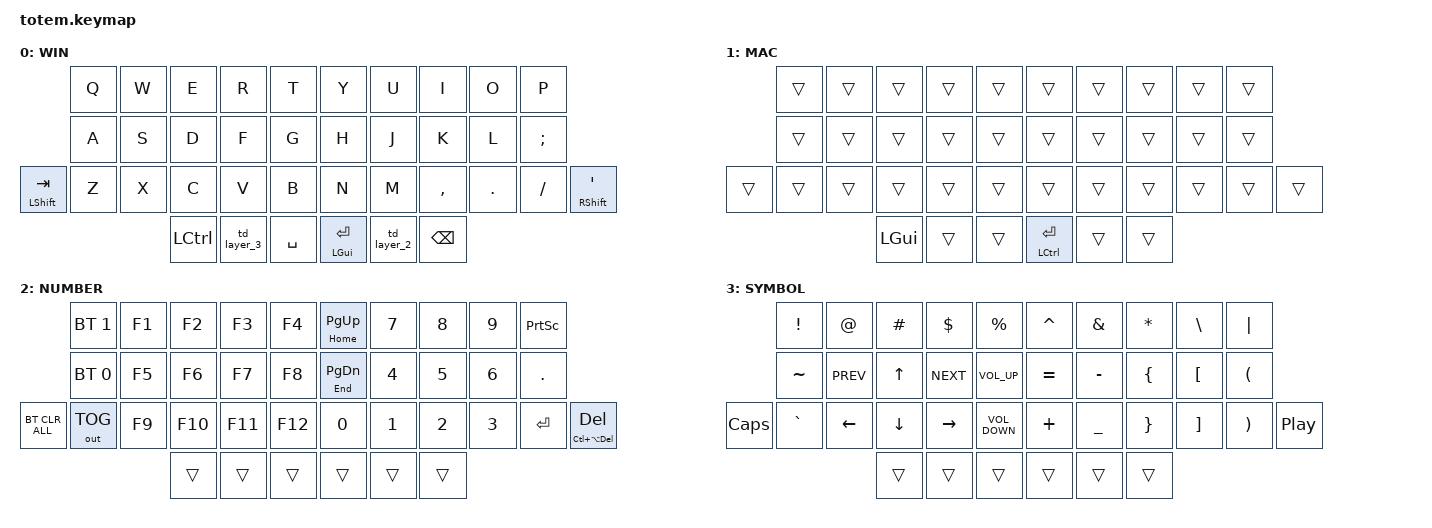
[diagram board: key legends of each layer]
//
//                                                        ▀▀▀▀▀     ▀▀▀▀▀          ▀▀█▀▀
//                                                        ▄▀▀▀▄  ▄  ▄▀▀▀▄  ▄  ▄▀▀▀▄  █  ▄▀▀▀▄
//                                                        █   █  █  █   █  █  █   █  █  █   █
//                                                         ▀▀▀   █   ▀▀▀   █   ▀▀▀   ▀   ▀▀▀
//                                                               █      ▄▄▄█▄▄▄    █   █  
//                                                               ▀      █  █  █     █▄█
//                                                             ▀▀▀▀▀    █  █  █      ▀
//                                                                      ▀  ▀  ▀
//
// ▄▄▄▄▄▄▄▄▄▄▄▄▄▄▄▄▄▄▄▄▄▄▄▄▄▄▄▄▄▄▄▄▄▄▄▄▄▄▄▄▄▄▄▄▄▄▄▄▄▄▄▄▄▄▄▄▄▄▄▄▄▄▄▄▄▄▄▄▄▄▄▄▄▄▄▄▄▄▄▄▄▄▄▄▄▄▄▄▄▄▄▄▄▄▄▄▄▄▄▄▄▄▄▄▄▄▄▄▄▄▄▄▄▄▄▄▄▄▄▄▄▄▄▄▄▄▄▄▄▄▄▄▄▄▄▄▄▄▄▄▄▄▄▄▄▄▄▄▄

#include <behaviors.dtsi>
#include <dt-bindings/zmk/bt.h>
#include <dt-bindings/zmk/keys.h>
#include <dt-bindings/zmk/outputs.h>

#define BASE 0
#define NAV  1
#define SYM  2
#define ADJ  3
#define TVP1 4
#define TVP2 5

&mt {
    quick-tap-ms = <100>;
    global-quick-tap;
    flavor = "hold-preferred";
    tapping-term-ms = <190>;
};

/ {
    combos {
        compatible = "zmk,combos";

        combo_esc {
            timeout-ms = <50>;
            key-positions = <0 1>;
            bindings = <&kp ESC>;
        };

        combo_toggle_mac {
            bindings = <&tog 1>;
            key-positions = <33 36>;
        };
    };

    behaviors {
        td_layer_2: td_layer_2 {
            compatible = "zmk,behavior-tap-dance";
            label = "TD_LAYER_2";
            #binding-cells = <0>;
            bindings = <&mo 2>, <&tog 2>;

            tapping-term-ms = <250>;
        };

        td_layer_3: td_layer_3 {
            compatible = "zmk,behavior-tap-dance";
            label = "TD_LAYER_3";
            #binding-cells = <0>;
            bindings = <&mo 3>, <&tog 3>;

            tapping-term-ms = <250>;
        };
    };

    keymap {
        compatible = "zmk,keymap";

        // ▄▄▄▄▄▄▄▄▄▄▄▄▄▄▄▄▄▄▄▄▄▄▄▄▄▄▄▄▄▄▄▄▄▄▄▄▄▄▄▄▄▄▄▄▄▄▄▄▄▄▄▄▄▄▄▄▄▄▄▄▄▄▄▄▄▄▄▄▄▄▄▄▄▄▄▄▄▄▄▄▄▄▄▄▄▄▄▄▄▄▄▄▄▄▄▄▄▄▄▄▄▄▄▄▄▄▄▄▄▄▄▄▄▄▄▄▄▄▄▄▄▄▄▄▄▄▄▄▄▄▄▄▄▄▄▄▄▄▄▄▄▄▄▄▄▄▄▄▄

        base_layer {
            // ┏━━━━━━━━━━━━━━━━━━━━━━━━━━━━━━━━━━━━━━━┓

            label = "WIN";

            // ┗━━━━━━━━━━━━━━━━━━━━━━━━━━━━━━━━━━━━━━━┛
            //             ┏━━━━━━━━━━━┳━━━━━━━━━━━┳━━━━━━━━━━━┳━━━━━━━━━━━┳━━━━━━━━━━━┓   ┏━━━━━━━━━━━┳━━━━━━━━━━━┳━━━━━━━━━━━┳━━━━━━━━━━━┳━━━━━━━━━━━┓
            //             ┃     Q     ┃     W     ┃     F     ┃     P     ┃     G     ┃   ┃     J     ┃     L     ┃     U     ┃     Y     ┃     ;     ┃
            //             ┣━━━━━━━━━━━╋━━━━━━━━━━━╋━━━━━━━━━━━╋━━━━━━━━━━━╋━━━━━━━━━━━┫   ┣━━━━━━━━━━━╋━━━━━━━━━━━╋━━━━━━━━━━━╋━━━━━━━━━━━╋━━━━━━━━━━━┫
            //             ┃     A     ┃     R     ┃     S     ┃     T     ┃     D     ┃   ┃     H     ┃     N     ┃     E     ┃     I     ┃     O     ┃
            // ┏━━━━━━━━━━━╋━━━━━━━━━━━╋━━━━━━━━━━━╋━━━━━━━━━━━╋━━━━━━━━━━━╋━━━━━━━━━━━┫   ┣━━━━━━━━━━━╋━━━━━━━━━━━╋━━━━━━━━━━━╋━━━━━━━━━━━╋━━━━━━━━━━━╋━━━━━━━━━━━┓
            // ┃     Q     ┃     Z     ┃     X     ┃     C     ┃     V     ┃     B     ┃   ┃     K     ┃     M     ┃     ,     ┃     .     ┃     /     ┃     \     ┃
            // ┗━━━━━━━━━━━┻━━━━━━━━━━━┻━━━━━━━━━━━╋━━━━━━━━━━━╋━━━━━━━━━━━╋━━━━━━━━━━━┫   ┣━━━━━━━━━━━╋━━━━━━━━━━━╋━━━━━━━━━━━╋━━━━━━━━━━━┻━━━━━━━━━━━┻━━━━━━━━━━━┛
            //                                     ┃    DEL    ┃    TAB    ┃    SPC    ┃   ┃   ENTER   ┃           ┃   BSPC    ┃
            //                                     ┗━━━━━━━━━━━┻━━━━━━━━━━━┻━━━━━━━━━━━┛   ┗━━━━━━━━━━━┻━━━━━━━━━━━┻━━━━━━━━━━━┛

            bindings = <
                    &kp Q  &kp W  &kp E      &kp R        &kp T        &kp Y           &kp U        &kp I          &kp O    &kp P
                    &kp A  &kp S  &kp D      &kp F        &kp G        &kp H           &kp J        &kp K          &kp L    &kp SEMICOLON
&mt LEFT_SHIFT TAB  &kp Z  &kp X  &kp C      &kp V        &kp B        &kp N           &kp M        &kp COMMA      &kp DOT  &kp FSLH       &mt RIGHT_SHIFT SQT
                                  &kp LCTRL  &td_layer_3  &kp SPACE    &mt LGUI ENTER  &td_layer_2  &kp BACKSPACE
            >;
        };

        mac_layer {
            bindings = <
        &trans  &trans  &trans    &trans  &trans    &trans           &trans  &trans  &trans  &trans
        &trans  &trans  &trans    &trans  &trans    &trans           &trans  &trans  &trans  &trans
&trans  &trans  &trans  &trans    &trans  &trans    &trans           &trans  &trans  &trans  &trans  &trans
                        &kp LGUI  &trans  &trans    &mt LCTRL ENTER  &trans  &trans
            >;

            label = "MAC";
        };

        lower_layer {
            bindings = <
                &bt BT_SEL 1  &kp F1  &kp F2   &kp F3   &kp F4     &mt HOME PG_UP  &kp N7  &kp N8  &kp N9  &kp PRINTSCREEN
                &bt BT_SEL 0  &kp F5  &kp F6   &kp F7   &kp F8     &mt END PG_DN   &kp N4  &kp N5  &kp N6  &kp DOT
&bt BT_CLR_ALL  &out OUT_TOG  &kp F9  &kp F10  &kp F11  &kp F12    &kp N0          &kp N1  &kp N2  &kp N3  &kp ENTER        &mt LC(LA(DEL)) DEL
                                      &trans   &trans   &trans     &trans          &trans  &trans
            >;

            label = "NUMBER";
        };

        raise_layer {
            bindings = <
          &kp EXCL   &kp AT      &kp HASH      &kp DOLLAR  &kp PERCENT          &kp CARET  &kp AMPS   &kp ASTERISK     &kp BACKSLASH      &kp PIPE
          &kp TILDE  &kp C_PREV  &kp UP_ARROW  &kp C_NEXT  &kp C_VOLUME_UP      &kp EQUAL  &kp MINUS  &kp LEFT_BRACE   &kp LEFT_BRACKET   &kp LEFT_PARENTHESIS
&kp CAPS  &kp GRAVE  &kp LEFT    &kp DOWN      &kp RIGHT   &kp C_VOLUME_DOWN    &kp PLUS   &kp UNDER  &kp RIGHT_BRACE  &kp RIGHT_BRACKET  &kp RIGHT_PARENTHESIS  &kp C_PLAY_PAUSE
                                 &trans        &trans      &trans               &trans     &trans     &trans
            >;

            label = "SYMBOL";
        };
    };
};
